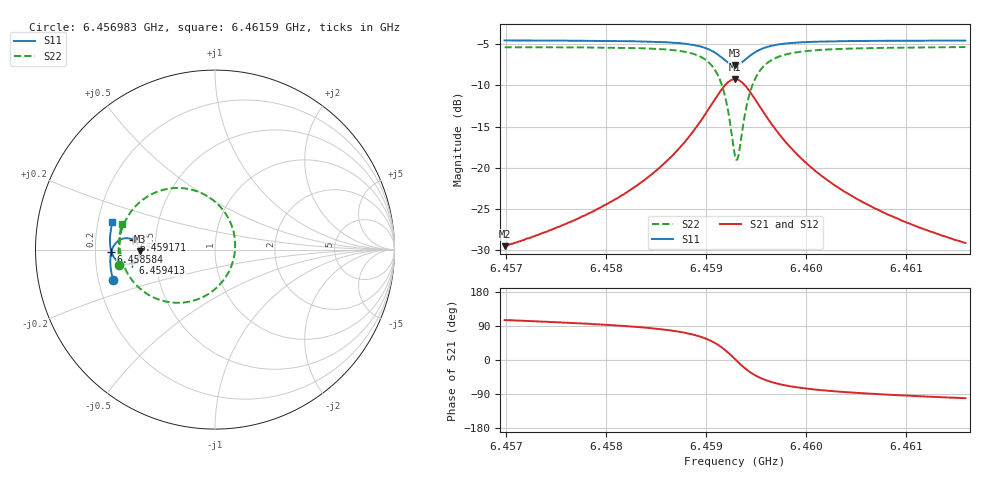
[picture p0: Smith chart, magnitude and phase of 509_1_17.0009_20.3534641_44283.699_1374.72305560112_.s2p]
#  HZ  S  RI  R  50.00
! Rohde & Schwarz Vector Network Analyzer
! Rohde-Schwarz,ZNB20-2Port,1311601062101988,3.16
! Created: UTC 3/20/2024, 11:14:54 PM
! freq[Hz]  re:S11  im:S11  re:S21  im:S21  re:S12  im:S12  re:S22  im:S22
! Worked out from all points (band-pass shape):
!   401 points, 6.456983 GHz to 6.46159 GHz, reference 50 ohm
!   highest |S21| = -9.24 dB at 6.459287 GHz (marker M1); lowest = -29.5 dB at 6.456983 GHz (marker M2)
!   |S21| within 3 dB of the highest: 6.459056 GHz to 6.459517 GHz (461 kHz wide, 0.00714 % of centre)
!   lowest |S11| = -7.6 dB at 6.459287 GHz (marker M3), VSWR 2.44, Z = 20.5 - j0.481 ohm
!   |S11| at or under -10 dB: nowhere
!   |S22| runs from -19.0 to -5.3 dB; largest |S21 - S12| = 0.014
!   S11 on the Smith chart (normalised r, x): 6.456983 GHz: 0.26, -0.14; 6.458584 GHz: 0.27, -0.01; 6.459171 GHz: 0.37, +0.05; 6.459413 GHz: 0.37, -0.07; 6.46159 GHz: 0.26, +0.12
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6.4569831e9  -0.5668 -0.1718  -0.0089 0.0324  -0.00723 0.0325  -0.5321 -0.0844
6.4577547e9  -0.5808 -0.1044  -0.00563 0.0504  -0.00313 0.0498  -0.5375 0.00579
6.4581924e9  -0.5837 -0.0604  0.000621 0.0705  0.00384 0.0691  -0.5288 0.0755
6.4585264e9  -0.5798 -0.0203  0.0141 0.0986  0.0182 0.0959  -0.5039 0.1509
6.458584e9  -0.578 -0.0123  0.0185 0.1055  0.0226 0.1024  -0.4957 0.1676
6.4587913e9  -0.5652 0.0197  0.046 0.1377  0.0502 0.1329  -0.4442 0.2401
6.458941e9  -0.5424 0.0459  0.0913 0.1683  0.0945 0.1615  -0.3606 0.3045
6.4590793e9  -0.4987 0.0635  0.1785 0.1848  0.1794 0.1774  -0.2016 0.3433
6.4591714e9  -0.4541 0.0532  0.2681 0.1535  0.2684 0.1477  -0.035 0.293
6.4592405e9  -0.4251 0.0212  0.3285 0.0817  0.3308 0.0763  0.0805 0.1635
6.4592866e9  -0.4183 -0.00967  0.3449 0.0138  0.3486 0.00688  0.1124 0.0366
6.4592981e9  -0.4188 -0.0177  0.3446 -0.00398  0.3485 -0.0115  0.112 0.00312
6.4593211e9  -0.4224 -0.0333  0.3391 -0.0386  0.343 -0.0477  0.1009 -0.0628
6.4593672e9  -0.4379 -0.0592  0.3105 -0.0984  0.3127 -0.1103  0.0431 -0.1759
6.4594133e9  -0.4599 -0.0756  0.2684 -0.1394  0.2676 -0.1525  -0.0419 -0.2505
6.4595054e9  -0.5032 -0.0824  0.1837 -0.1703  0.1775 -0.1818  -0.2107 -0.2965
6.4596551e9  -0.5469 -0.0617  0.0961 -0.1564  0.0875 -0.1627  -0.3782 -0.2469
6.4598279e9  -0.5693 -0.0322  0.049 -0.1268  0.0415 -0.1292  -0.4622 -0.1702
6.4600582e9  -0.581 0.00147  0.0222 -0.097  0.0163 -0.0977  -0.5064 -0.0924
6.4603922e9  -0.5855 0.0413  0.00649 -0.0709  0.00246 -0.0705  -0.5273 -0.0154
6.4608299e9  -0.5834 0.0853  -0.00158 -0.0518  -0.00434 -0.051  -0.5319 0.0549
6.4615901e9  -0.5713 0.1526  -0.00651 -0.0345  -0.00826 -0.0335  -0.5204 0.1446
